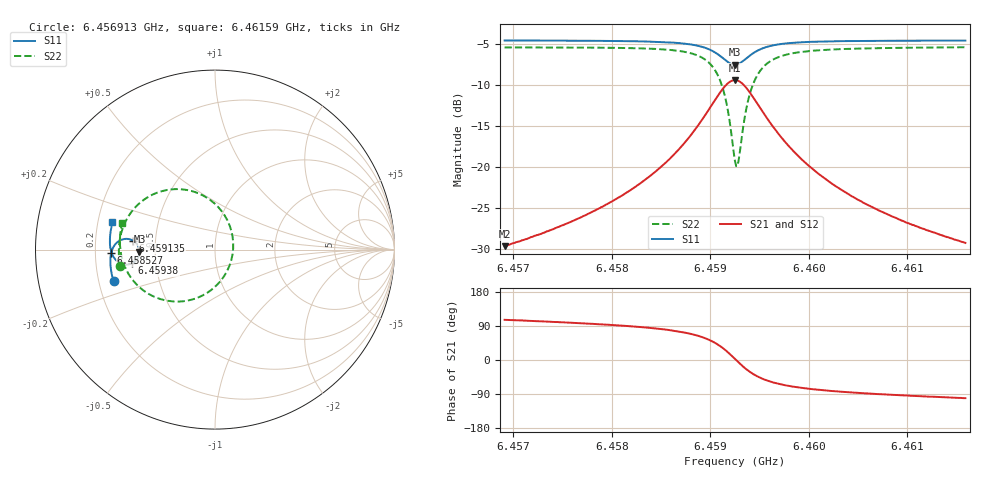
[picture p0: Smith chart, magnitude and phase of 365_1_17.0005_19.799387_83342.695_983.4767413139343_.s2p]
#  HZ  S  RI  R  50.00
! Rohde & Schwarz Vector Network Analyzer
! Rohde-Schwarz,ZNB20-2Port,1311601062101988,3.16
! Created: UTC 3/20/2024, 11:08:23 PM
! freq[Hz]  re:S11  im:S11  re:S21  im:S21  re:S12  im:S12  re:S22  im:S22
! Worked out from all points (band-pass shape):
!   401 points, 6.456913 GHz to 6.46159 GHz, reference 50 ohm
!   highest |S21| = -9.39 dB at 6.459251 GHz (marker M1); lowest = -29.7 dB at 6.456913 GHz (marker M2)
!   |S21| within 3 dB of the highest: 6.459018 GHz to 6.459485 GHz (467 kHz wide, 0.00723 % of centre)
!   lowest |S11| = -7.5 dB at 6.459251 GHz (marker M3), VSWR 2.45, Z = 20.4 - j0.584 ohm
!   |S11| at or under -10 dB: nowhere
!   |S22| runs from -19.9 to -5.4 dB; largest |S21 - S12| = 0.013
!   S11 on the Smith chart (normalised r, x): 6.456913 GHz: 0.26, -0.14; 6.458527 GHz: 0.27, -0.01; 6.459135 GHz: 0.37, +0.05; 6.45938 GHz: 0.36, -0.07; 6.46159 GHz: 0.26, +0.12
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6.4569132e9  -0.5651 -0.1772  -0.0091 0.0316  -0.00743 0.0317  -0.5293 -0.09
6.4576965e9  -0.5799 -0.1091  -0.00587 0.0492  -0.00353 0.0488  -0.5356 0.000144
6.4581291e9  -0.5833 -0.0661  -0.000129 0.0685  0.00289 0.0672  -0.5284 0.0675
6.4584798e9  -0.5798 -0.0247  0.0133 0.0969  0.0171 0.0944  -0.5042 0.1446
6.4585266e9  -0.5784 -0.0184  0.0165 0.1023  0.0204 0.0995  -0.498 0.1578
6.4587487e9  -0.5654 0.0154  0.0443 0.1357  0.0483 0.131  -0.4464 0.2334
6.4589007e9  -0.5433 0.0418  0.0886 0.166  0.0918 0.1594  -0.3648 0.2977
6.459041e9  -0.5003 0.0596  0.1741 0.1827  0.1752 0.1755  -0.2089 0.3371
6.4591346e9  -0.4564 0.05  0.2627 0.1527  0.2628 0.1467  -0.0451 0.289
6.4591813e9  -0.4355 0.0316  0.3059 0.1108  0.307 0.1054  0.0367 0.2147
6.4592515e9  -0.4207 -0.0118  0.339 0.0156  0.3423 0.00872  0.1014 0.0388
6.4592632e9  -0.4212 -0.0196  0.3388 -0.00198  0.3424 -0.00939  0.1012 0.00567
6.4592866e9  -0.4246 -0.035  0.3335 -0.0361  0.3371 -0.045  0.0907 -0.0589
6.4593333e9  -0.4399 -0.0605  0.3056 -0.095  0.3078 -0.1065  0.035 -0.1699
6.4593801e9  -0.4616 -0.0766  0.2644 -0.1355  0.2636 -0.1483  -0.0479 -0.2437
6.4594736e9  -0.5042 -0.0831  0.1813 -0.1666  0.1753 -0.1776  -0.2133 -0.2896
6.4596256e9  -0.5475 -0.0626  0.095 -0.1532  0.0868 -0.1592  -0.3776 -0.242
6.4597893e9  -0.5686 -0.0352  0.0509 -0.126  0.0436 -0.1288  -0.457 -0.1715
6.4600348e9  -0.5812 0.000574  0.0221 -0.0953  0.0165 -0.0959  -0.5042 -0.0904
6.4603973e9  -0.5856 0.043  0.00606 -0.0685  0.00202 -0.0679  -0.5261 -0.01
6.4608182e9  -0.5836 0.0848  -0.00136 -0.0509  -0.00403 -0.05  -0.53 0.0557
6.4615898e9  -0.5711 0.1528  -0.00636 -0.0339  -0.00807 -0.033  -0.5184 0.1455
